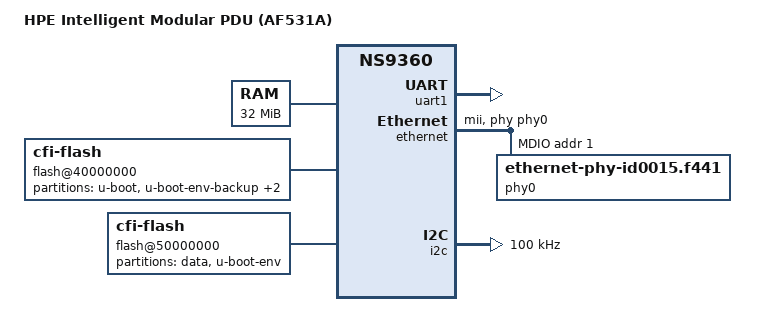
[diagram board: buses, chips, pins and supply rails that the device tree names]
// SPDX-License-Identifier: GPL-2.0+
/dts-v1/;

/ {
	model = "HPE Intelligent Modular PDU (AF531A)";
	compatible = "hpe,ipdu-af531a", "digi,ns9360";

	#address-cells = <1>;
	#size-cells = <1>;

	chosen {
		stdout-path = &uart1;
	};

	aliases {
		serial0 = &uart1;
		ethernet0 = &ethernet;
	};

	cpus {
		#address-cells = <1>;
		#size-cells = <0>;

		cpu@0 {
			device_type = "cpu";
			compatible = "arm,arm926ej-s";
			reg = <0>;
			clock-frequency = <176947200>;
		};
	};

	clocks {
		crystal: crystal {
			compatible = "fixed-clock";
			#clock-cells = <0>;
			clock-frequency = <29491200>;
		};

		pll: pll {
			compatible = "digi,ns9360-pll";
			#clock-cells = <0>;
			clocks = <&crystal>;
			clock-mult = <12>;
			clock-div = <2>;
		};

		cpu_clk: cpu-clk {
			compatible = "fixed-factor-clock";
			#clock-cells = <0>;
			clocks = <&pll>;
			clock-div = <2>;
			clock-mult = <1>;
		};

		ahb_clk: ahb-clk {
			compatible = "fixed-factor-clock";
			#clock-cells = <0>;
			clocks = <&pll>;
			clock-div = <4>;
			clock-mult = <1>;
		};

		bbus_clk: bbus-clk {
			compatible = "fixed-factor-clock";
			#clock-cells = <0>;
			clocks = <&pll>;
			clock-div = <8>;
			clock-mult = <1>;
		};
	};

	memory@0 {
		device_type = "memory";
		reg = <0x00000000 0x02000000>;
	};

	soc {
		compatible = "simple-bus";
		#address-cells = <1>;
		#size-cells = <1>;
		ranges;

		syscon: system-controller@a0900000 {
			compatible = "digi,ns9360-syscon";
			reg = <0xa0900000 0x100000>;
		};

		memctrl: memory-controller@a0700000 {
			compatible = "digi,ns9360-memctrl";
			reg = <0xa0700000 0x100000>;
		};

		bbus: bus@90600000 {
			compatible = "digi,ns9360-bbus", "simple-bus";
			reg = <0x90600000 0x100000>;
			#address-cells = <1>;
			#size-cells = <1>;
			ranges;

			gpio: gpio@90600010 {
				compatible = "digi,ns9360-gpio";
				reg = <0x90600010 0x160>;
				gpio-controller;
				#gpio-cells = <2>;
				ngpios = <73>;
			};
		};

		uart0: serial@90200000 {
			compatible = "digi,ns9360-uart";
			reg = <0x90200000 0x40>;
			clocks = <&bbus_clk>;
			status = "disabled";
		};

		uart1: serial@90200040 {
			compatible = "digi,ns9360-uart";
			reg = <0x90200040 0x40>;
			clocks = <&bbus_clk>;
			status = "okay";
		};

		uart2: serial@90300000 {
			compatible = "digi,ns9360-uart";
			reg = <0x90300000 0x40>;
			clocks = <&bbus_clk>;
			status = "disabled";
		};

		uart3: serial@90300040 {
			compatible = "digi,ns9360-uart";
			reg = <0x90300040 0x40>;
			clocks = <&bbus_clk>;
			status = "disabled";
		};

		ethernet: ethernet@a0600000 {
			compatible = "digi,ns9360-eth";
			reg = <0xa0600000 0x100000>;
			clocks = <&ahb_clk>;
			phy-mode = "mii";
			phy-handle = <&phy0>;

			mdio {
				#address-cells = <1>;
				#size-cells = <0>;

				phy0: ethernet-phy@1 {
					compatible = "ethernet-phy-id0015.f441";
					reg = <1>;
				};
			};
		};

		i2c: i2c@90500000 {
			compatible = "digi,ns9360-i2c";
			reg = <0x90500000 0x100>;
			clocks = <&bbus_clk>;
			clock-frequency = <100000>;
			#address-cells = <1>;
			#size-cells = <0>;
			status = "okay";
		};
	};

	flash@40000000 {
		compatible = "cfi-flash";
		reg = <0x40000000 0x00800000>;
		bank-width = <2>;
		#address-cells = <1>;
		#size-cells = <1>;

		partition@0 {
			label = "u-boot";
			reg = <0x00000000 0x00040000>;
			read-only;
		};

		partition@40000 {
			label = "u-boot-env-backup";
			reg = <0x00040000 0x00010000>;
		};

		partition@50000 {
			label = "kernel";
			reg = <0x00050000 0x00300000>;
		};

		partition@350000 {
			label = "rootfs";
			reg = <0x00350000 0x004B0000>;
		};
	};

	flash@50000000 {
		compatible = "cfi-flash";
		reg = <0x50000000 0x00800000>;
		bank-width = <2>;
		#address-cells = <1>;
		#size-cells = <1>;

		partition@0 {
			label = "data";
			reg = <0x00000000 0x007F0000>;
		};

		partition@7f0000 {
			label = "u-boot-env";
			reg = <0x007F0000 0x00010000>;
		};
	};
};
